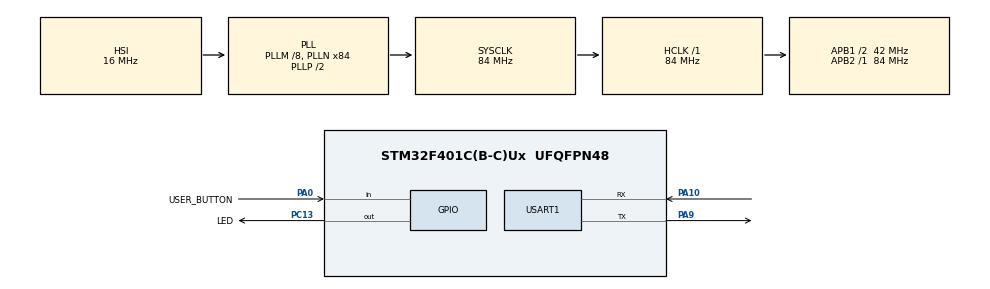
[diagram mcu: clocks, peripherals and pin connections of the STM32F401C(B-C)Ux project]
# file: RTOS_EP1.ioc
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FREERTOS.Queues01=SimpleQueue,16,uint16_t,0,Dynamic,NULL,NULL;AdvancedQueue,16,uint16_t,0,Dynamic,NULL,NULL
FREERTOS.Tasks01=Task01,24,128,Task01_Handler,Default,NULL,Dynamic,NULL,NULL;Task02,24,128,Task02_Handler,Default,NULL,Dynamic,NULL,NULL
FREERTOS.configUSE_NEWLIB_REENTRANT=1
Mcu.Family=STM32F4
Mcu.Name=STM32F401C(B-C)Ux
Mcu.Package=UFQFPN48
NVIC.PriorityGroup=NVIC_PRIORITYGROUP_4
NVIC.TIM1_UP_TIM10_IRQn=true\:15\:0\:false\:false\:true\:false\:false\:true\:true
NVIC.TimeBase=TIM1_UP_TIM10_IRQn
NVIC.TimeBaseIP=TIM10
NVIC.USART1_IRQn=true\:5\:0\:false\:false\:true\:true\:true\:true\:true
PA0-WKUP.GPIO_Label=USER_BUTTON
PA0-WKUP.GPIO_PuPd=GPIO_PULLUP
PA0-WKUP.Signal=GPIO_Input
PA10.Mode=Asynchronous
PA10.Signal=USART1_RX
PA13.Mode=Serial_Wire
PA13.Signal=SYS_JTMS-SWDIO
PA14.Mode=Serial_Wire
PA14.Signal=SYS_JTCK-SWCLK
PA9.Mode=Asynchronous
PA9.Signal=USART1_TX
PC13-ANTI_TAMP.GPIO_Label=LED
PC13-ANTI_TAMP.GPIO_PuPd=GPIO_PULLUP
PC13-ANTI_TAMP.Signal=GPIO_Output
ProjectManager.HeapSize=0x200
ProjectManager.StackSize=0x400
ProjectManager.TargetToolchain=STM32CubeIDE
RCC.48MHZClocksFreq_Value=42000000
RCC.AHBFreq_Value=84000000
RCC.APB1CLKDivider=RCC_HCLK_DIV2
RCC.APB1Freq_Value=42000000
RCC.APB1TimFreq_Value=84000000
RCC.APB2Freq_Value=84000000
RCC.APB2TimFreq_Value=84000000
RCC.CortexFreq_Value=84000000
RCC.HCLKFreq_Value=84000000
RCC.HSE_VALUE=25000000
RCC.HSI_VALUE=16000000
RCC.LSE_VALUE=32768
RCC.PLLM=8
RCC.PLLN=84
RCC.SYSCLKFreq_VALUE=84000000
RCC.SYSCLKSource=RCC_SYSCLKSOURCE_PLLCLK
RCC.VCOOutputFreq_Value=168000000
USART1.VirtualMode=VM_ASYNC
VP_FREERTOS_VS_CMSIS_V2.Mode=CMSIS_V2
VP_SYS_VS_tim10.Mode=TIM10
board=custom

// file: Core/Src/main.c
/* USER CODE BEGIN Header */
/**
  ******************************************************************************
  * @file           : main.c
  * @brief          : Main program body
  ******************************************************************************
  * @attention
  *
  * Copyright (c) 2024 STMicroelectronics.
  * All rights reserved.
  *
  * This software is licensed under terms that can be found in the LICENSE file
  * in the root directory of this software component.
  * If no LICENSE file comes with this software, it is provided AS-IS.
  *
  ******************************************************************************
  */
/* USER CODE END Header */
#include "main.h"
#include "cmsis_os.h"

/* USER CODE BEGIN Includes */

#include <string.h>
#include <stdint.h>
#include <stdio.h>
#include <stdlib.h>
/* USER CODE END Includes */

UART_HandleTypeDef huart1;
char *send_buf = "It's send buffer \r\n";
char *str;
char *recv_buf = "It's recv buffer\n\r";

char *ringbuf[64];
/* Definitions for Task01 */
osThreadId_t Task01Handle;
const osThreadAttr_t Task01_attributes = {
  .name = "Task01",
  .stack_size = 128 * 4,
  .priority = (osPriority_t) osPriorityNormal,
};
/* Definitions for Task02 */
osThreadId_t Task02Handle;
const osThreadAttr_t Task02_attributes = {
  .name = "Task02",
  .stack_size = 128 * 4,
  .priority = (osPriority_t) osPriorityNormal,
};
/* Definitions for SimpleQueue */
osMessageQueueId_t SimpleQueueHandle;
const osMessageQueueAttr_t SimpleQueue_attributes = {
  .name = "SimpleQueue"
};
/* Definitions for AdvancedQueue */
osMessageQueueId_t AdvancedQueueHandle;
const osMessageQueueAttr_t AdvancedQueue_attributes = {
  .name = "AdvancedQueue"
};

void SystemClock_Config(void);
static void MX_GPIO_Init(void);
static void MX_USART1_UART_Init(void);
void Task01_Handler(void *argument);
void Task02_Handler(void *argument);

int main(void)
{

  /* MCU Configuration--------------------------------------------------------*/

  /* Reset of all peripherals, Initializes the Flash interface and the Systick. */
  HAL_Init();

  /* Configure the system clock */
  SystemClock_Config();

  /* Initialize all configured peripherals */
  MX_GPIO_Init();
  MX_USART1_UART_Init();
  /* USER CODE BEGIN 2 */
  HAL_UART_Receive_IT(&huart1, (uint8_t *)ringbuf, 1);

  /* USER CODE END 2 */

  /* Init scheduler */
  osKernelInitialize();

  /* Create the queue(s) */
  /* creation of SimpleQueue */
  SimpleQueueHandle = osMessageQueueNew (16, sizeof(uint16_t), &SimpleQueue_attributes);

  /* creation of AdvancedQueue */
  AdvancedQueueHandle = osMessageQueueNew (16, sizeof(uint16_t), &AdvancedQueue_attributes);

  /* Create the thread(s) */
  /* creation of Task01 */
  Task01Handle = osThreadNew(Task01_Handler, NULL, &Task01_attributes);

  /* creation of Task02 */
  Task02Handle = osThreadNew(Task02_Handler, NULL, &Task02_attributes);

  /* Start scheduler */
  osKernelStart();
  /* We should never get here as control is now taken by the scheduler */
  /* Infinite loop */
  while (1)
  {

  }
}

void SystemClock_Config(void)
{
  RCC_OscInitTypeDef RCC_OscInitStruct = {0};
  RCC_ClkInitTypeDef RCC_ClkInitStruct = {0};

  /** Configure the main internal regulator output voltage
  */
  __HAL_RCC_PWR_CLK_ENABLE();
  __HAL_PWR_VOLTAGESCALING_CONFIG(PWR_REGULATOR_VOLTAGE_SCALE2);

  /** Initializes the RCC Oscillators according to the specified parameters
  * in the RCC_OscInitTypeDef structure.
  */
  RCC_OscInitStruct.OscillatorType = RCC_OSCILLATORTYPE_HSI;
  RCC_OscInitStruct.HSIState = RCC_HSI_ON;
  RCC_OscInitStruct.HSICalibrationValue = RCC_HSICALIBRATION_DEFAULT;
  RCC_OscInitStruct.PLL.PLLState = RCC_PLL_ON;
  RCC_OscInitStruct.PLL.PLLSource = RCC_PLLSOURCE_HSI;
  RCC_OscInitStruct.PLL.PLLM = 8;
  RCC_OscInitStruct.PLL.PLLN = 84;
  RCC_OscInitStruct.PLL.PLLP = RCC_PLLP_DIV2;
  RCC_OscInitStruct.PLL.PLLQ = 4;
  if (HAL_RCC_OscConfig(&RCC_OscInitStruct) != HAL_OK)
  {
    Error_Handler();
  }

  /** Initializes the CPU, AHB and APB buses clocks
  */
  RCC_ClkInitStruct.ClockType = RCC_CLOCKTYPE_HCLK|RCC_CLOCKTYPE_SYSCLK
                              |RCC_CLOCKTYPE_PCLK1|RCC_CLOCKTYPE_PCLK2;
  RCC_ClkInitStruct.SYSCLKSource = RCC_SYSCLKSOURCE_PLLCLK;
  RCC_ClkInitStruct.AHBCLKDivider = RCC_SYSCLK_DIV1;
  RCC_ClkInitStruct.APB1CLKDivider = RCC_HCLK_DIV2;
  RCC_ClkInitStruct.APB2CLKDivider = RCC_HCLK_DIV1;

  if (HAL_RCC_ClockConfig(&RCC_ClkInitStruct, FLASH_LATENCY_2) != HAL_OK)
  {
    Error_Handler();
  }
}

static void MX_USART1_UART_Init(void)
{

  huart1.Instance = USART1;
  huart1.Init.BaudRate = 115200;
  huart1.Init.WordLength = UART_WORDLENGTH_8B;
  huart1.Init.StopBits = UART_STOPBITS_1;
  huart1.Init.Parity = UART_PARITY_NONE;
  huart1.Init.Mode = UART_MODE_TX_RX;
  huart1.Init.HwFlowCtl = UART_HWCONTROL_NONE;
  huart1.Init.OverSampling = UART_OVERSAMPLING_16;
  if (HAL_UART_Init(&huart1) != HAL_OK)
  {
    Error_Handler();
  }

}

static void MX_GPIO_Init(void)
{
  GPIO_InitTypeDef GPIO_InitStruct = {0};

  /* GPIO Ports Clock Enable */
  __HAL_RCC_GPIOC_CLK_ENABLE();
  __HAL_RCC_GPIOA_CLK_ENABLE();

  /*Configure GPIO pin Output Level */
  HAL_GPIO_WritePin(LED_GPIO_Port, LED_Pin, GPIO_PIN_RESET);

  /*Configure GPIO pin : LED_Pin */
  GPIO_InitStruct.Pin = LED_Pin;
  GPIO_InitStruct.Mode = GPIO_MODE_OUTPUT_PP;
  GPIO_InitStruct.Pull = GPIO_PULLUP;
  GPIO_InitStruct.Speed = GPIO_SPEED_FREQ_LOW;
  HAL_GPIO_Init(LED_GPIO_Port, &GPIO_InitStruct);

  /*Configure GPIO pin : USER_BUTTON_Pin */
  GPIO_InitStruct.Pin = USER_BUTTON_Pin;
  GPIO_InitStruct.Mode = GPIO_MODE_INPUT;
  GPIO_InitStruct.Pull = GPIO_PULLUP;
  HAL_GPIO_Init(USER_BUTTON_GPIO_Port, &GPIO_InitStruct);

}

/* USER CODE BEGIN 4 */
void HAL_UART_RxCpltCallback(UART_HandleTypeDef *huart)
{
	//HAL_UART_Transmit(&huart1, (uint8_t *)ringbuf, 1, 10);
	HAL_UART_Receive_IT(&huart1, (uint8_t*)ringbuf, 1);
}
/* USER CODE END 4 */

void Task01_Handler(void *argument)
{
  /* USER CODE BEGIN 5 */
	//int i = 200;
	char *msg_str1 = "Take osPut \r\n";
  /* Infinite loop */
  for(;;)
  {
    HAL_UART_Transmit(&huart1, (uint8_t *)send_buf, strlen(send_buf), 100);
    if(osMessageQueuePut(SimpleQueueHandle, (void*) msg_str1, 0, 100) == pdPASS)
    {
    	char *str2 = "Successfully sent the number to the queue\nLeaving SENDER_HPT Task\n\n\n";
    	HAL_UART_Transmit(&huart1, (uint8_t *)str2, strlen (str2), 100);
    }
    osDelay(1000);
  }
  /* USER CODE END 5 */
}

void Task02_Handler(void *argument)
{
  /* USER CODE BEGIN Task02_Handler */
	int received=0;
  /* Infinite loop */
  for(;;)
  {
	  if (osMessageQueueGet(SimpleQueueHandle, &received, 0, portMAX_DELAY) != pdPASS)
		{
			HAL_UART_Transmit(&huart1, (uint8_t *)"Error in Receiving from Queue\n\n", 31, 100);
		}
		else
		{
			sprintf(str, " Successfully RECEIVED the number %d to the queue\nLeaving RECEIVER Task\n\n\n",received);
			HAL_UART_Transmit(&huart1, (uint8_t *)str, strlen (str), 100);
		}
		osDelay(2000);
  }
  /* USER CODE END Task02_Handler */
}

void HAL_TIM_PeriodElapsedCallback(TIM_HandleTypeDef *htim)
{
  if (htim->Instance == TIM10) {
    HAL_IncTick();
  }
}

void Error_Handler(void)
{
  __disable_irq();
  while (1)
  {
  }
}
